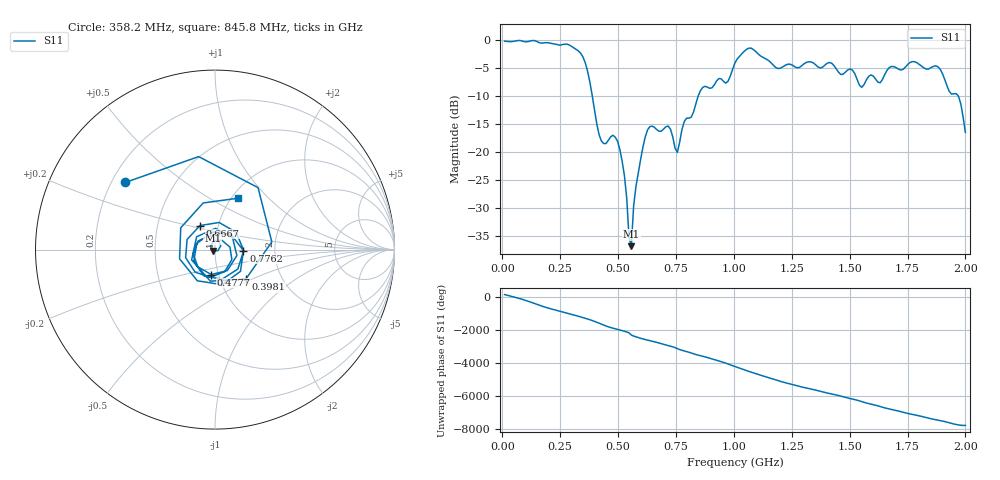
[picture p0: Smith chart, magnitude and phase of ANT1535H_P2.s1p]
!Created with skrf (http://scikit-rf.org).
# Hz S RI R 50.0
!freq ReS11 ImS11
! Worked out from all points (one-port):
!   201 points, 10 MHz to 2 GHz, reference 50 ohm
!   lowest |S11| = -36.9 dB at 557.2 MHz (marker M1), VSWR 1.03, Z = 48.7 - j0.641 ohm
!   |S11| at or under -10 dB: 388.4 MHz to 846.5 MHz (458.1 MHz wide, 74.2 % of centre); 1.969 GHz to end of sweep
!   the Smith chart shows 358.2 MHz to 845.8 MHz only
!   S11 on the Smith chart (normalised r, x): 358.2 MHz: 0.26, +0.31; 398.1 MHz: 1.33, -0.46; 477.6 MHz: 0.92, -0.26; 666.7 MHz: 0.82, +0.22; 776.1 MHz: 1.38, -0.02; 845.8 MHz: 1.07, +0.68
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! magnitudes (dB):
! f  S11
! 10 MHz  -0.2
! 258.8 MHz  -0.8
! 358.2 MHz  -4.1
! 398.1 MHz  -12.5
! 427.9 MHz  -18.1
! 477.6 MHz  -17.0
! 507.5 MHz  -19.6
! 527.4 MHz  -24.3
! 547.3 MHz  -35.3
! 557.2 MHz  -36.9
! 567.2 MHz  -29.7
! 607 MHz  -19.2
! 636.9 MHz  -15.5
! 666.7 MHz  -16.0
! 716.5 MHz  -15.4
! 756.2 MHz  -20.1
! 776.1 MHz  -16.0
! 845.8 MHz  -10.1
! 975.1 MHz  -7.4
! 1.005 GHz  -4.1
! 1.075 GHz  -1.5
! 1.254 GHz  -4.5
! 1.502 GHz  -5.2
! 1.552 GHz  -8.5
! 1.751 GHz  -4.4
! 1.891 GHz  -5.2
! 1.97 GHz  -10.1
! 2 GHz  -16.5
